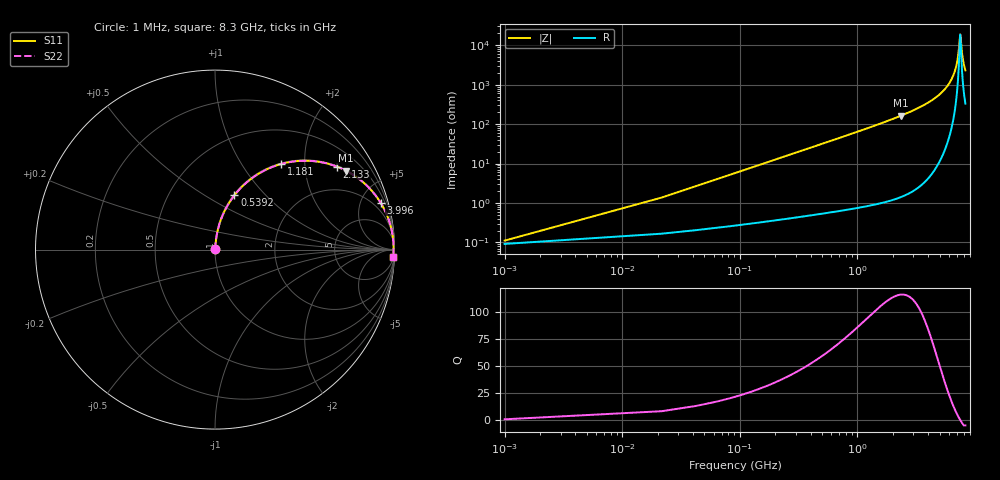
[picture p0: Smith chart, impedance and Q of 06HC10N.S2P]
! Coilcraft 0603HC-10N Chip Inductor
! 03 June 2002
# MHZ S MA R 50
!Freq  MagS11  AngS11  MagS21  AngS21  MagS12  AngS12  MagS22  AngS22
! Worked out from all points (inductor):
!   402 points, 1 MHz to 8.3 GHz, reference 50 ohm
!   read as one part in series: L = 10 nH near 42.4 MHz
!   highest Q = 116 at 2.361 GHz (marker M1), where L = 11.1 nH
!   self-resonance near 7.494 GHz
!   S11 on the Smith chart (normalised r, x): 1 MHz: 1.00, +0.00; 539.2 MHz: 1.01, +0.68; 1.181 GHz: 1.02, +1.52; 2.133 GHz: 1.03, +2.92; 3.996 GHz: 1.08, +7.01; 8.3 GHz: 8, -46
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1  0.001109 34.4  0.9991 -0.0  0.9991 -0.0  0.001109 34.4
63.1  0.03959 84.4  0.9969 -2.3  0.9969 -2.3  0.03959 84.4
125.2  0.07827 83.3  0.9939 -4.5  0.9939 -4.5  0.07827 83.3
187.3  0.1166 81.6  0.9897 -6.7  0.9897 -6.7  0.1166 81.6
290.8  0.1793 78.4  0.9797 -10.3  0.9797 -10.3  0.1793 78.4
539.2  0.3208 70.4  0.942 -18.7  0.942 -18.7  0.3208 70.4
1180.9  0.6024 52.3  0.7917 -37.0  0.7917 -37.0  0.6024 52.3
1387.9  0.6669 47.6  0.7385 -41.8  0.7385 -41.8  0.6669 47.6
2133.1  0.8214 34.3  0.5633 -55.2  0.5633 -55.2  0.8214 34.3
2360.8  0.8514 31.1  0.5172 -58.4  0.5172 -58.4  0.8514 31.1
2774.8  0.8931 26.2  0.4422 -63.3  0.4422 -63.3  0.8931 26.2
3996.1  0.9586 15.9  0.2735 -73.4  0.2735 -73.4  0.9586 15.9
4161.7  0.9637 14.8  0.2552 -74.5  0.2552 -74.5  0.9637 14.8
5548.6  0.988 7.4  0.1285 -81.0  0.1285 -81.0  0.988 7.4
6376.6  0.9934 4.0  0.06902 -82.5  0.06902 -82.5  0.9934 4.0
6935.5  0.9947 1.9  0.03361 -80.0  0.03361 -80.0  0.9947 1.9
7204.6  0.9949 1.0  0.0179 -72.9  0.0179 -72.9  0.9949 1.0
7494.4  0.9947 0.0  0.00529 -6.0  0.00529 -6.0  0.9947 0.0
7556.5  0.9947 -0.2  0.006075 28.6  0.006075 28.6  0.9947 -0.2
7722.1  0.9944 -0.7  0.01326 64.8  0.01326 64.8  0.9944 -0.7
7867  0.9941 -1.1  0.02069 73.0  0.02069 73.0  0.9941 -1.1
8300  0.9929 -2.4  0.04294 79.3  0.04294 79.3  0.9929 -2.4
